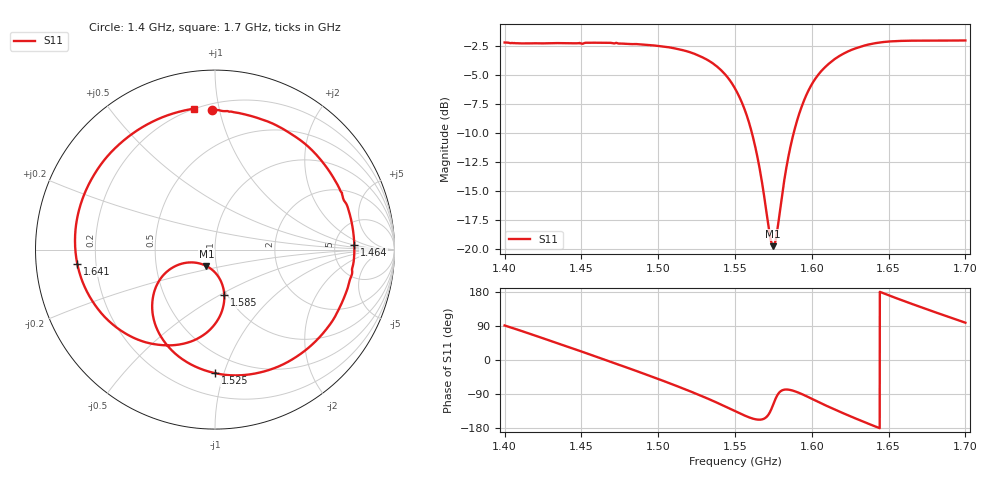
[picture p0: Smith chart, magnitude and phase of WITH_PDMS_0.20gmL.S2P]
!Keysight Technologies,E5063A,MY54503975,A.05.08
!Date: Fri Mar 07 05:11:55 2025
!Data & Calibration Information:
!Freq	S11:NONE(--)	S21:RESPT(ON)	S12:NONE(--)	S22:NONE(--)
# Hz S RI R 50
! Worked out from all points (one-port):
!   3001 points, 1.4 GHz to 1.7 GHz, reference 50 ohm
!   lowest |S11| = -19.7 dB at 1.575 GHz (marker M1), VSWR 1.23, Z = 44.7 - j8.3 ohm
!   |S11| at or under -10 dB: 1.561 GHz to 1.588 GHz (27.08 MHz wide, 1.72 % of centre)
!   S11 on the Smith chart (normalised r, x): 1.4 GHz: 0.24, +0.95; 1.464 GHz: 7.81, +1.03; 1.525 GHz: 0.36, -0.94; 1.585 GHz: 0.97, -0.53; 1.641 GHz: 0.13, -0.05; 1.7 GHz: 0.20, +0.84
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1.4e9  -0.0148 0.778  -0 -0  0 0  0 0
1.4236e9  0.394 0.6632  0 -0  0 0  0 0
1.45e9  0.7117 0.2951  -0 0  0 0  0 0
1.4644e9  0.7761 0.0262  -0 0  0 0  0 0
1.4822e9  0.7014 -0.3085  -0 0  0 0  0 0
1.5e9  0.4826 -0.577  0 -0  0 0  0 0
1.5131e9  0.2461 -0.6856  0 0  0 0  0 0
1.5252e9  0.00143 -0.6887  0 0  0 0  0 0
1.537e9  -0.2165 -0.584  0 0  0 0  0 0
1.55e9  -0.3484 -0.3493  0 -0  0 0  0 0
1.5618e9  -0.274 -0.1283  0 0  0 0  0 0
1.5749e9  -0.0474 -0.0917  0 0  0 0  0 0
1.5852e9  0.0518 -0.2541  0 0  0 0  0 0
1.5922e9  0.0163 -0.3906  0 0  0 0  0 0
1.6e9  -0.1103 -0.5023  0 -0  0 0  0 0
1.6083e9  -0.2895 -0.5326  0 -0  0 0  0 0
1.6174e9  -0.4792 -0.4784  -0 0  0 0  0 0
1.6293e9  -0.6715 -0.3043  -0 0  0 0  0 0
1.6406e9  -0.7676 -0.0777  -0 -0  0 0  0 0
1.65e9  -0.7757 0.1245  -0 -0  0 0  0 0
1.6763e9  -0.5289 0.5908  -0 -0  0 0  0 0
1.7e9  -0.1164 0.7855  -0 -0  0 0  0 0
